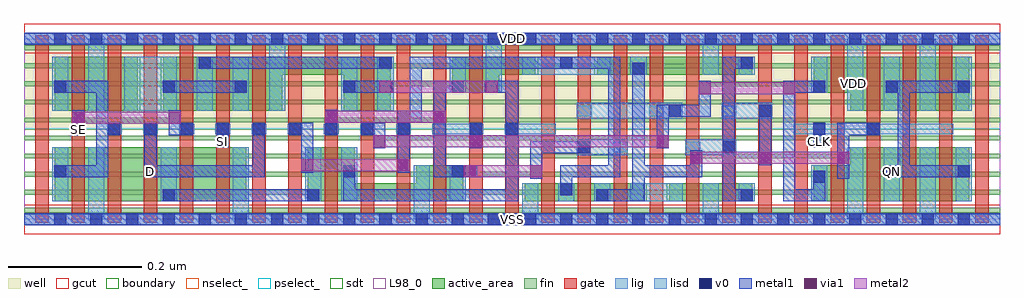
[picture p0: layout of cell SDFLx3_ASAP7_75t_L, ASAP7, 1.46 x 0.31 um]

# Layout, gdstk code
import gdstk
lib = gdstk.Library(unit=1e-6, precision=2.5e-10)
def R(c, l, rs):  # rectangles x0, y0, x1, y1
    for r in rs: c.add(gdstk.rectangle(r[:2], r[2:], *l))
def A(c, l, x, y, w, h, nx, ny, dx, dy):  # array of equal rectangles
    R(c, l, [(x+i*dx, y+j*dy, x+i*dx+w, y+j*dy+h) for i in range(nx) for j in range(ny)])
def P(c, l, *ps):  # polygons
    for p in ps: c.add(gdstk.Polygon(p, *l))
well = (1, 0)
fin = (2, 0)
gate = (7, 0)
gcut = (10, 0)
active_area = (11, 0)
nselect_ = (12, 0)
pselect_ = (13, 0)
lig = (16, 0)
lisd = (17, 0)
v0 = (18, 0)
metal1 = (19, 0)
metal2 = (20, 0)
via1 = (21, 0)
sdt = (88, 0)
L98_0 = (98, 0)
boundary = (100, 0)

sdflx3_asap7_75t_l = lib.new_cell('SDFLx3_ASAP7_75t_L')
R(sdflx3_asap7_75t_l, well, [(0,0.135,1.458,0.27)])
A(sdflx3_asap7_75t_l, fin, 0, 0.01, 1.458, 0.007, 1, 10, 0, 0.027)
A(sdflx3_asap7_75t_l, gate, 0.017, -0.005, 0.02, 0.28, 27, 1, 0.054, 0)
R(sdflx3_asap7_75t_l, gcut, [(0,-0.022,1.458,0.022), (0,0.248,1.458,0.292)])
R(sdflx3_asap7_75t_l, active_area, [(0.046,0.027,0.332,0.108), (0.748,0.027,0.926,0.054), (0.964,0.027,1.088,0.054), (0.046,0.162,0.17,0.243), (0.856,0.216,1.088,0.243)])
P(sdflx3_asap7_75t_l, active_area, [(0.494,0.108),(0.424,0.108),(0.424,0.027),(0.656,0.027),(0.656,0.081),(0.586,0.081),(0.586,0.054),(0.494,0.054)],
  [(1.234,0.081),(1.18,0.081),(1.18,0.027),(1.412,0.027),(1.412,0.108),(1.234,0.108)],
  [(0.478,0.162),(0.548,0.162),(0.548,0.243),(0.208,0.243),(0.208,0.162),(0.386,0.162),(0.386,0.216),(0.478,0.216)],
  [(1.18,0.189),(1.234,0.189),(1.234,0.162),(1.412,0.162),(1.412,0.243),(1.18,0.243)],
  [(0.64,0.189),(0.71,0.189),(0.71,0.216),(0.764,0.216),(0.764,0.243),(0.64,0.243)])
R(sdflx3_asap7_75t_l, nselect_, [(0,0,1.458,0.135)])
R(sdflx3_asap7_75t_l, pselect_, [(0,0.135,1.458,0.27)])
A(sdflx3_asap7_75t_l, lig, 0.124, 0.127, 0.022, 0.016, 9, 1, 0.054, 0)
A(sdflx3_asap7_75t_l, lig, 0.826, 0.154, 0.022, 0.016, 3, 1, 0.108, 0)
R(sdflx3_asap7_75t_l, lig, [(0,-0.008,1.458,0.008), (0.88,0.1,0.902,0.116), (0.988,0.1,1.01,0.116), (0.07,0.126,0.092,0.142), (0.61,0.127,0.686,0.143), (0.718,0.127,0.794,0.143), (1.15,0.127,1.226,0.143), (1.258,0.127,1.388,0.143), (0,0.262,1.458,0.278)])
R(sdflx3_asap7_75t_l, lisd, [(0.096,0,0.12,0.108), (0.312,0,0.336,0.108), (0.582,0,0.606,0.081), (0.744,0,0.768,0.054), (1.014,0,1.038,0.054), (1.23,0,1.254,0.108), (1.338,0,1.362,0.108), (0.042,0.027,0.066,0.108), (0.204,0.027,0.228,0.108), (0.42,0.027,0.444,0.108), (0.474,0.027,0.498,0.108), (0.636,0.027,0.66,0.081), (0.798,0.027,0.822,0.054), (0.852,0.027,0.876,0.054), (0.906,0.027,0.984,0.054), (1.068,0.027,1.092,0.054), (1.176,0.027,1.2,0.081), (1.284,0.027,1.308,0.108), (1.392,0.027,1.416,0.108), (0.826,0.096,0.902,0.12), (0.988,0.096,1.064,0.12), (0.826,0.15,0.983,0.174), (1.042,0.15,1.118,0.174), (0.042,0.162,0.066,0.243), (0.096,0.162,0.12,0.27), (0.15,0.162,0.228,0.243), (0.258,0.162,0.282,0.243), (0.312,0.162,0.336,0.243), (0.366,0.162,0.39,0.27), (0.474,0.162,0.498,0.243), (0.528,0.162,0.552,0.243), (1.23,0.162,1.254,0.27), (1.284,0.162,1.308,0.243), (1.338,0.162,1.362,0.27), (1.392,0.162,1.416,0.243), (0.636,0.189,0.66,0.243), (0.69,0.189,0.714,0.27), (1.176,0.189,1.2,0.243), (0.744,0.216,0.876,0.243), (0.906,0.216,0.93,0.243), (1.014,0.216,1.038,0.27), (1.068,0.216,1.092,0.243)])
A(sdflx3_asap7_75t_l, v0, 0.045, -0.009, 0.018, 0.018, 26, 2, 0.054, 0.27)
A(sdflx3_asap7_75t_l, v0, 0.126, 0.126, 0.018, 0.018, 9, 1, 0.054, 0)
A(sdflx3_asap7_75t_l, v0, 0.315, 0.189, 0.018, 0.018, 3, 1, 0.162, 0)
A(sdflx3_asap7_75t_l, v0, 1.179, 0.189, 0.018, 0.018, 3, 1, 0.108, 0)
A(sdflx3_asap7_75t_l, v0, 0.261, 0.225, 0.018, 0.018, 4, 1, 0.27, 0)
R(sdflx3_asap7_75t_l, v0, [(0.207,0.027,0.225,0.045), (0.423,0.027,0.441,0.045), (0.855,0.027,0.873,0.045), (1.071,0.027,1.089,0.045), (0.801,0.036,0.819,0.054), (1.179,0.055,1.197,0.073), (0.045,0.063,0.063,0.081), (0.477,0.063,0.495,0.081), (0.639,0.063,0.657,0.081), (1.287,0.063,1.305,0.081), (1.395,0.063,1.413,0.081), (0.828,0.099,0.846,0.117), (1.044,0.099,1.062,0.117), (0.072,0.125,0.09,0.143), (0.666,0.126,0.684,0.144), (0.72,0.126,0.738,0.144), (1.179,0.126,1.197,0.144), (1.26,0.126,1.278,0.144), (0.963,0.153,0.981,0.171), (1.098,0.153,1.116,0.171), (0.045,0.189,0.063,0.207), (0.207,0.189,0.225,0.207), (0.909,0.216,0.927,0.234)])
R(sdflx3_asap7_75t_l, metal1, [(0,-0.009,1.458,0.009), (0.207,0.027,0.441,0.045), (0.995,0.081,1.013,0.103), (1.098,0.081,1.116,0.171), (0.666,0.106,0.684,0.144), (1.179,0.107,1.197,0.144), (0.288,0.108,0.306,0.144), (0.072,0.125,0.09,0.163), (0.45,0.126,0.468,0.164), (0.207,0.189,0.333,0.207), (0.477,0.189,0.551,0.207), (0.261,0.225,0.549,0.243), (0,0.261,1.458,0.279)])
P(sdflx3_asap7_75t_l, metal1, [(1.026,0.207),(1.008,0.207),(1.008,0.171),(0.945,0.171),(0.945,0.106),(0.963,0.106),(0.963,0.153),(1.026,0.153)],
  [(0.774,0.099),(0.846,0.099),(0.846,0.117),(0.756,0.117),(0.756,0.061),(0.774,0.061)],
  [(0.432,0.144),(0.396,0.144),(0.396,0.126),(0.414,0.126),(0.414,0.07),(0.432,0.07)],
  [(0.54,0.144),(0.504,0.144),(0.504,0.126),(0.522,0.126),(0.522,0.106),(0.54,0.106)],
  [(0.36,0.144),(0.342,0.144),(0.342,0.081),(0.198,0.081),(0.198,0.144),(0.18,0.144),(0.18,0.063),(0.36,0.063)],
  [(1.233,0.126),(1.278,0.126),(1.278,0.144),(1.215,0.144),(1.215,0.061),(1.233,0.061)],
  [(0.252,0.144),(0.234,0.144),(0.234,0.163),(0.216,0.163),(0.216,0.126),(0.252,0.126)],
  [(1.197,0.073),(1.179,0.073),(1.179,0.045),(1.152,0.045),(1.152,0.189),(1.197,0.189),(1.197,0.207),(1.134,0.207),(1.134,0.027),(1.197,0.027)],
  [(0.126,0.126),(0.144,0.126),(0.144,0.144),(0.126,0.144),(0.126,0.207),(0.045,0.207),(0.045,0.189),(0.108,0.189),(0.108,0.081),(0.045,0.081),(0.045,0.063),(0.126,0.063)],
  [(0.677,0.081),(0.63,0.081),(0.63,0.189),(0.657,0.189),(0.657,0.207),(0.612,0.207),(0.612,0.063),(0.677,0.063)],
  [(0.738,0.207),(0.688,0.207),(0.688,0.189),(0.72,0.189),(0.72,0.045),(0.495,0.045),(0.495,0.081),(0.477,0.081),(0.477,0.027),(0.738,0.027)],
  [(1.413,0.207),(1.287,0.207),(1.287,0.189),(1.305,0.189),(1.305,0.081),(1.287,0.081),(1.287,0.063),(1.413,0.063),(1.413,0.081),(1.323,0.081),(1.323,0.189),(1.413,0.189)],
  [(0.819,0.063),(0.891,0.063),(0.891,0.243),(0.576,0.243),(0.576,0.162),(0.558,0.162),(0.558,0.07),(0.576,0.07),(0.576,0.144),(0.594,0.144),(0.594,0.225),(0.873,0.225),(0.873,0.081),(0.801,0.081),(0.801,0.036),(0.819,0.036)],
  [(1.089,0.045),(1.062,0.045),(1.062,0.225),(1.089,0.225),(1.089,0.243),(1.044,0.243),(1.044,0.027),(1.089,0.027)],
  [(0.927,0.063),(1.013,0.063),(1.013,0.081),(0.927,0.081),(0.927,0.234),(0.909,0.234),(0.909,0.045),(0.855,0.045),(0.855,0.027),(0.927,0.027)])
R(sdflx3_asap7_75t_l, metal2, [(0.657,0.063,0.774,0.081), (0.414,0.072,0.576,0.09), (0.995,0.083,1.233,0.101), (0.522,0.108,0.963,0.126), (0.072,0.143,0.234,0.161), (0.45,0.144,0.63,0.162), (1.008,0.187,1.152,0.205), (0.531,0.189,0.708,0.207)])
R(sdflx3_asap7_75t_l, via1, [(0.657,0.063,0.675,0.081), (0.756,0.063,0.774,0.081), (0.414,0.072,0.432,0.09), (0.558,0.072,0.576,0.09), (0.995,0.083,1.013,0.101), (1.098,0.083,1.116,0.101), (1.215,0.083,1.233,0.101), (0.522,0.108,0.54,0.126), (0.666,0.108,0.684,0.126), (0.945,0.108,0.963,0.126), (0.072,0.143,0.09,0.161), (0.216,0.143,0.234,0.161), (0.45,0.144,0.468,0.162), (0.612,0.144,0.63,0.162), (1.008,0.187,1.026,0.205), (1.134,0.187,1.152,0.205), (0.531,0.189,0.549,0.207), (0.69,0.189,0.708,0.207)])
A(sdflx3_asap7_75t_l, sdt, 0.096, 0.027, 0.024, 0.081, 4, 1, 0.108, 0)
A(sdflx3_asap7_75t_l, sdt, 0.744, 0.027, 0.024, 0.027, 7, 1, 0.054, 0)
A(sdflx3_asap7_75t_l, sdt, 1.23, 0.027, 0.024, 0.081, 4, 2, 0.054, 0.135)
A(sdflx3_asap7_75t_l, sdt, 0.042, 0.162, 0.024, 0.081, 7, 1, 0.054, 0)
R(sdflx3_asap7_75t_l, sdt, [(0.042,0.027,0.066,0.108), (0.474,0.027,0.498,0.108), (0.582,0.027,0.606,0.081), (0.636,0.027,0.66,0.081), (1.176,0.027,1.2,0.081), (0.474,0.162,0.498,0.243), (0.528,0.162,0.552,0.243), (0.636,0.189,0.66,0.243), (0.69,0.189,0.714,0.243), (1.176,0.189,1.2,0.243), (0.744,0.216,0.768,0.243), (0.852,0.216,0.876,0.243), (0.906,0.216,0.93,0.243), (1.014,0.216,1.038,0.243), (1.068,0.216,1.092,0.243)])
R(sdflx3_asap7_75t_l, L98_0, [(0,0,1.458,0.27)])
R(sdflx3_asap7_75t_l, boundary, [(0,0,1.458,0.27)])
sdflx3_asap7_75t_l.add(gdstk.Label('SI', (0.297,0.117), layer=19, texttype=251))
sdflx3_asap7_75t_l.add(gdstk.Label('SE', (0.081,0.135), layer=19, texttype=251))
sdflx3_asap7_75t_l.add(gdstk.Label('QN', (1.296,0.072), layer=19, texttype=251))
sdflx3_asap7_75t_l.add(gdstk.Label('D', (0.189,0.072), layer=19, texttype=251))
sdflx3_asap7_75t_l.add(gdstk.Label('CLK', (1.188,0.117), layer=19, texttype=251))
sdflx3_asap7_75t_l.add(gdstk.Label('VSS', (0.729,0), layer=19, texttype=251))
sdflx3_asap7_75t_l.add(gdstk.Label('VDD', (0.729,0.27), layer=19, texttype=251))
sdflx3_asap7_75t_l.add(gdstk.Label('VDD', (1.2392,0.2025), layer=1, texttype=251))
sdflx3_asap7_75t_l.add(gdstk.Label('VSS', (1.6767,0.2025), layer=3, texttype=251))

lib.write_gds('SDFLx3_ASAP7_75t_L.gds')
